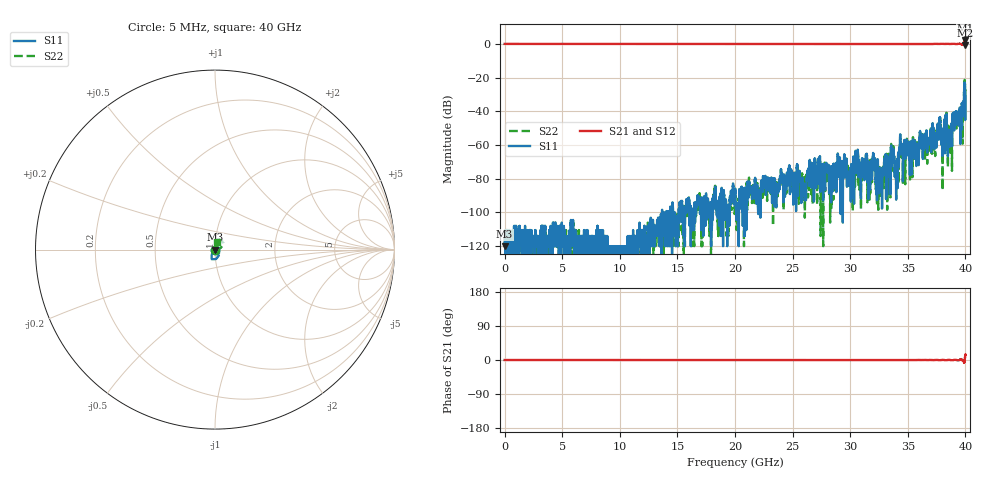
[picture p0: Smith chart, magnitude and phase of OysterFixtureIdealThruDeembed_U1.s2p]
# MHz MA S R 50.0
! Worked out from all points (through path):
!   8000 points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, 5 MHz to 40 GHz, reference 50 ohm
!   highest |S21| = 2.05 dB at 39.97 GHz (marker M1); lowest = -0.9 dB at 40 GHz (marker M2)
!   lowest |S11| = -120.0 dB at 5 MHz (marker M3), VSWR 1.00, Z = 50 - j9.79e-05 ohm
!   |S11| at or under -10 dB: start of sweep to end of sweep
!   |S22| runs from - to -21.4 dB; largest |S21 - S12| = 0.0044
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5  1e-06 -101.8  1 0.0  1 0.0  1e-06 -133.2
6675  2e-06 -132.4  1 0.0  1 0.0  2e-06 -122.0
13340  7e-06 111.1  1 0.0  1 0.0  5e-06 157.1
20005  4.4e-05 69.8  1 0.0  1 0.0  3e-05 119.3
26055  2.3e-05 123.9  0.9996 -0.0  0.9996 -0.0  2.7e-05 -94.3
26670  0.000264 108.6  0.9999 -0.0  0.9999 -0.0  0.000194 -159.8
29485  0.000473 52.0  1.001 0.0  1.001 0.0  0.000357 147.1
29895  0.000109 -175.9  1 -0.0  1 -0.0  0.000124 -45.4
30635  0.000683 134.3  1.001 0.0  1.001 0.0  0.00051 -113.7
32630  0.000211 66.5  1.001 0.0  1.001 0.0  0.000186 -140.4
33335  0.000393 122.4  0.9998 0.1  0.9997 0.1  0.00051 -109.8
33710  0.000547 -2.5  1.001 -0.0  1.002 -0.0  0.000672 119.1
34045  7.2e-05 -11.3  0.999 -0.0  0.9989 -0.0  0.000103 -176.1
34350  0.001796 168.2  1 0.2  1.001 0.2  0.001406 -61.7
35760  0.000545 -124.7  1.002 -0.1  1.002 -0.1  0.000311 38.6
37390  0.001417 89.2  1.006 -0.1  1.006 -0.1  0.000682 -145.3
37705  0.002451 95.1  0.9993 -0.3  0.9995 -0.4  0.003116 -117.6
38650  0.002155 9.0  0.995 0.1  0.9954 0.2  0.001519 176.4
39050  0.006101 -77.4  1.006 0.3  1.005 0.3  0.00597 71.2
39595  0.008748 -84.4  0.9923 1.8  0.99 1.6  0.008205 89.5
39965  0.03948 -72.9  1.266 6.3  1.262 6.3  0.0754 58.4
40000  0.02911 173.4  0.9038 13.7  0.9013 13.6  0.01345 60.4
